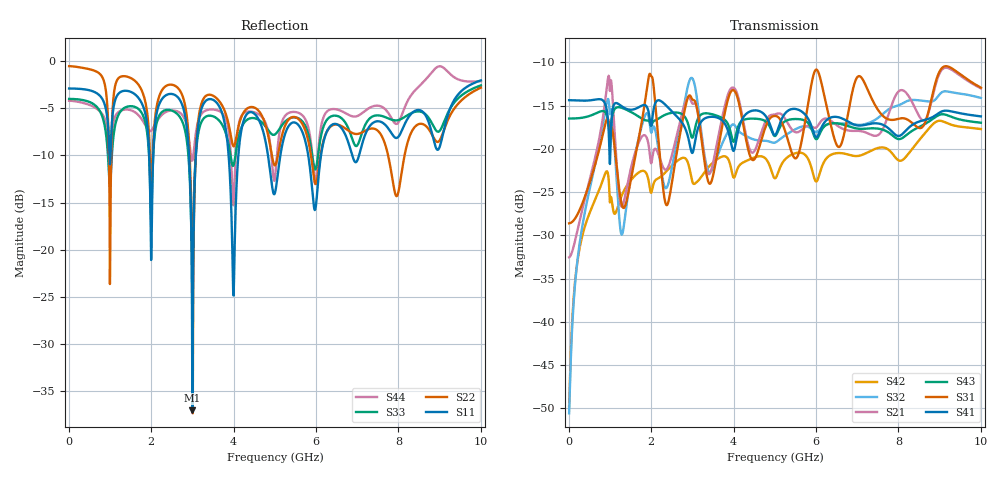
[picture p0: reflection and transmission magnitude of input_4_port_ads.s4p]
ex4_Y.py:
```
# -*- coding: utf-8 -*-
"""
Created on Tue May 11 17:23:45 2021

@author: guia3994
"""

import numpy as np
import warnings
warnings.filterwarnings(action="error", category=np.ComplexWarning)

from VFdriver import VFdriver
# from RPdriver import RPdriver
from plots import plot_figure_11
from create_netlist import create_netlist_file
from passivity_driver import passive_driver
import skrf as rf


big_y_net = rf.Network('input_4_port_ads.s4p')
big_y_npy = big_y_net.y
s = big_y_net.f*2j*np.pi
sh = big_y_npy.shape
bigY = np.zeros([sh[-1], sh[-2], len(s)], dtype=np.complex128)
for n in range(len(s)):
    bigY[:, :, n] = big_y_npy[n, :, :]

# Pole-Residue Fitting
vf_driver = VFdriver(N=50,
                      poletype='linlogcmplx',
                      weightparam='common_sqrt',
                      Niter1=7,
                      Niter2=4,
                      asymp='D',
                      logx=False,
                      plot=False
                      )
poles=None
SER, rmserr, bigYfit = vf_driver.vfdriver(bigY, s, poles)

# Passivity Enforcement
SER, bigYfit_passive = passive_driver(SER, s, max_iter=10)

plot_figure_11(s, bigY, bigYfit_passive, SER)

poles = SER['poles']
residues = SER['C']
Ns = poles.shape[0]
Nc = int(residues.shape[1] / Ns)
poles = poles.reshape((1, -1))
residues = residues.reshape((Nc ** 2, Ns))
create_netlist_file(poles, residues)
```
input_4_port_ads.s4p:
! Created Tue May 11 18:49:54 2021
# hz S ma R 50
! 4 Port Network Data from SP1.SP block
! freq  magS11  angS11  magS12  angS12  magS13  angS13  magS14  angS14
!  magS21  angS21  magS22  angS22  magS23  angS23  magS24  angS24
!  magS31  angS31  magS32  angS32  magS33  angS33  magS34  angS34
!  magS41  angS41  magS42  angS42  magS43  angS43  magS44  angS44
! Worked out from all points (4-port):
!   1000 points, 10 MHz to 10 GHz, reference 50 ohm
!   strongest paths, dB at 10 MHz, 2.51 GHz, 5.01 GHz, 7.51 GHz, 10 GHz:
!     S41: -14.4, -15.7, -18.4, -17.1, -16.2
!     S31: -28.6, -23.7, -16.2, -15.5, -12.9
!     S43: -16.5, -15.8, -18.5, -17.7, -17.0
!     S21: -32.5, -20.6, -16.0, -18.4, -13.0
!     S32: -50.6, -22.0, -19.3, -16.4, -14.1
!     S42: -49.7, -21.9, -23.4, -19.9, -17.7
!   lowest |S11| = -37.1 dB at 3 GHz (marker M1), VSWR 1.03, Z = 50.8 - j1.16 ohm
!   |S11| at or under -10 dB: 3.879 GHz to 4.116 GHz (236.5 MHz wide, 5.91 % of centre); 4.835 GHz to 5.135 GHz (299.8 MHz wide, 6.01 % of centre); 5.812 GHz to 6.12 GHz (308.7 MHz wide, 5.18 % of centre)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
1e7  0.7174 -0.2  0.02363 2.5  0.0371 1.1  0.1911 -0.1
     0.02363 2.5  0.9425 -0.3  0.002961 20.6  0.003258 19.8
     0.0371 1.1  0.002961 20.6  0.6317 -0.2  0.1497 0.0
     0.1911 -0.1  0.003258 19.8  0.1497 0.0  0.6176 -0.2
3e9  0.014 -54.3  0.1828 3.4  0.1931 3.7  0.09465 -17.8
     0.1828 3.4  0.03684 -88.1  0.2554 3.5  0.06451 3.7
     0.1931 3.7  0.2554 3.5  0.0955 13.1  0.1159 -14.6
     0.09465 -17.8  0.06451 3.7  0.1159 -14.6  0.297 8.0
1e10  0.7923 52.1  0.2238 -44.8  0.2258 -46.3  0.154 -44.8
      0.2238 -44.8  0.7246 49.8  0.1969 -38.3  0.1301 -23.2
      0.2258 -46.3  0.1969 -38.3  0.745 45.9  0.1415 -43.8
      0.154 -44.8  0.1301 -23.2  0.1415 -43.8  0.785 28.4
